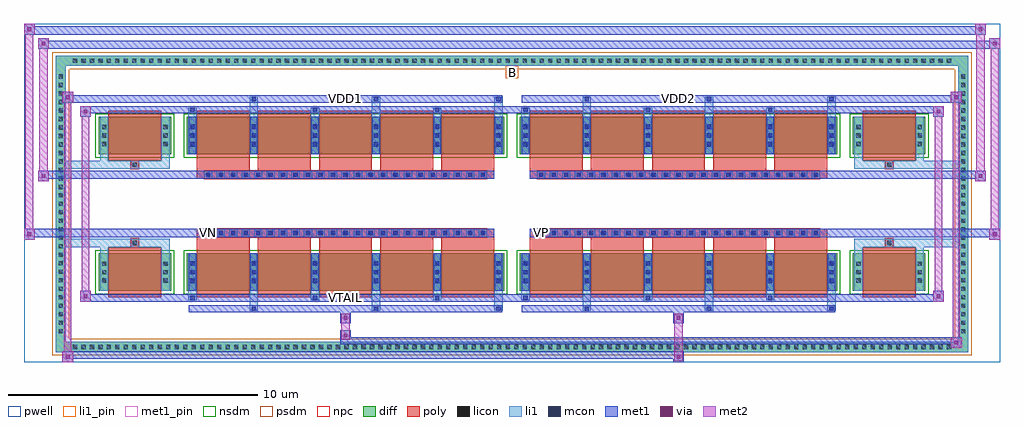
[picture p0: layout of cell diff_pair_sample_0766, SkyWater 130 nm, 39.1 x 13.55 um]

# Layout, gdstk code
import gdstk
lib = gdstk.Library(unit=1e-6, precision=5e-09)
def R(c, l, rs):  # rectangles x0, y0, x1, y1
    for r in rs: c.add(gdstk.rectangle(r[:2], r[2:], *l))
def A(c, l, x, y, w, h, nx, ny, dx, dy):  # array of equal rectangles
    R(c, l, [(x+i*dx, y+j*dy, x+i*dx+w, y+j*dy+h) for i in range(nx) for j in range(ny)])
def P(c, l, *ps):  # polygons
    for p in ps: c.add(gdstk.Polygon(p, *l))
pwell = (64, 44)
diff = (65, 20)
poly = (66, 20)
licon = (66, 44)
li1_pin = (67, 16)
li1 = (67, 20)
mcon = (67, 44)
met1_pin = (68, 16)
met1 = (68, 20)
via = (68, 44)
met2 = (69, 20)
nsdm = (93, 44)
psdm = (94, 20)
npc = (95, 20)

diff_pair_sample_0766 = lib.new_cell('diff_pair_sample_0766')
R(diff_pair_sample_0766, pwell, [(-19.55,-6.34,19.55,7.21), (-16.87,-4.53,-0.01,-0.805), (0.01,-4.53,16.87,-0.805), (-16.87,0.805,-0.01,4.53), (0.01,0.805,16.87,4.53)])
A(diff_pair_sample_0766, diff, -17.715, -5.94, 0.41, 0.41, 104, 2, 0.34, 11.47)
A(diff_pair_sample_0766, diff, -18.28, -5.305, 0.41, 0.41, 1, 31, 0, 0.34)
A(diff_pair_sample_0766, diff, 17.87, -5.305, 0.41, 0.41, 1, 31, 0, 0.34)
R(diff_pair_sample_0766, diff, [(-17.715,-5.94,17.715,-5.53), (-18.28,-5.305,-17.87,5.305), (17.87,-5.305,18.28,5.305), (-16.56,-3.485,-13.66,-1.985), (-13.02,-3.485,-0.32,-1.985), (0.32,-3.485,13.02,-1.985), (13.66,-3.485,16.56,-1.985), (-16.56,1.985,-13.66,3.485), (-13.02,1.985,-0.32,3.485), (0.32,1.985,13.02,3.485), (13.66,1.985,16.56,3.485), (-17.715,5.53,17.715,5.94)])
P(diff_pair_sample_0766, diff, [(18.28,5.94),(-18.28,5.94),(-18.28,-5.53),(-17.87,-5.53),(-17.87,5.53),(17.87,5.53),(17.87,-5.53),(-17.87,-5.53),(-18.28,-5.53),(-18.28,-5.94),(18.28,-5.94)])
A(diff_pair_sample_0766, poly, -12.63, -3.735, 2.12, 2, 5, 2, 2.45, 5.47)
A(diff_pair_sample_0766, poly, 0.71, -3.735, 2.12, 2, 5, 2, 2.45, 5.47)
A(diff_pair_sample_0766, poly, -12.63, -1.735, 2.12, 0.4, 5, 2, 2.45, 3.07)
A(diff_pair_sample_0766, poly, 0.71, -1.735, 2.12, 0.4, 5, 2, 2.45, 3.07)
A(diff_pair_sample_0766, poly, -12.335, -1.335, 0.33, 0.33, 23, 2, 0.5, 2.34)
A(diff_pair_sample_0766, poly, 1.005, -1.335, 0.33, 0.33, 23, 2, 0.5, 2.34)
R(diff_pair_sample_0766, poly, [(-16.17,-3.735,-14.05,-1.735), (14.05,-3.735,16.17,-1.735), (-15.275,-1.735,-14.945,-1.405), (-15.275,-1.735,-14.945,-1.405), (14.945,-1.735,15.275,-1.405), (14.945,-1.735,15.275,-1.405), (-12.63,-1.335,-0.71,-1.005), (0.71,-1.335,12.63,-1.005), (-12.63,1.005,-0.71,1.335), (0.71,1.005,12.63,1.335), (-15.275,1.405,-14.945,1.735), (-15.275,1.405,-14.945,1.735), (14.945,1.405,15.275,1.735), (14.945,1.405,15.275,1.735), (-16.17,1.735,-14.05,3.735), (14.05,1.735,16.17,3.735)])
A(diff_pair_sample_0766, licon, -17.595, -5.82, 0.17, 0.17, 104, 2, 0.34, 11.47)
A(diff_pair_sample_0766, licon, -18.16, -5.185, 0.17, 0.17, 1, 31, 0, 0.34)
A(diff_pair_sample_0766, licon, 17.99, -5.185, 0.17, 0.17, 1, 31, 0, 0.34)
A(diff_pair_sample_0766, licon, -16.42, -3.16, 0.17, 0.17, 1, 3, 0, 0.34)
A(diff_pair_sample_0766, licon, -13.97, -3.16, 0.17, 0.17, 1, 3, 0, 0.34)
A(diff_pair_sample_0766, licon, -12.88, -3.16, 0.17, 0.17, 6, 3, 2.45, 0.34)
A(diff_pair_sample_0766, licon, 0.46, -3.16, 0.17, 0.17, 6, 3, 2.45, 0.34)
A(diff_pair_sample_0766, licon, 13.8, -3.16, 0.17, 0.17, 1, 3, 0, 0.34)
A(diff_pair_sample_0766, licon, 16.25, -3.16, 0.17, 0.17, 1, 3, 0, 0.34)
A(diff_pair_sample_0766, licon, -12.255, -1.255, 0.17, 0.17, 23, 2, 0.5, 2.34)
A(diff_pair_sample_0766, licon, 1.085, -1.255, 0.17, 0.17, 23, 2, 0.5, 2.34)
A(diff_pair_sample_0766, licon, -16.42, 2.31, 0.17, 0.17, 1, 3, 0, 0.34)
A(diff_pair_sample_0766, licon, -13.97, 2.31, 0.17, 0.17, 1, 3, 0, 0.34)
A(diff_pair_sample_0766, licon, -12.88, 2.31, 0.17, 0.17, 6, 3, 2.45, 0.34)
A(diff_pair_sample_0766, licon, 0.46, 2.31, 0.17, 0.17, 6, 3, 2.45, 0.34)
A(diff_pair_sample_0766, licon, 13.8, 2.31, 0.17, 0.17, 1, 3, 0, 0.34)
A(diff_pair_sample_0766, licon, 16.25, 2.31, 0.17, 0.17, 1, 3, 0, 0.34)
R(diff_pair_sample_0766, licon, [(-15.195,-1.655,-15.025,-1.485), (15.025,-1.655,15.195,-1.485), (-15.195,1.485,-15.025,1.655), (15.025,1.485,15.195,1.655)])
R(diff_pair_sample_0766, li1_pin, [(-0.25,5.03,0.25,5.53)])
A(diff_pair_sample_0766, li1, -17.675, -5.9, 0.33, 0.33, 104, 2, 0.34, 11.47)
A(diff_pair_sample_0766, li1, -18.24, -5.265, 0.33, 0.33, 1, 31, 0, 0.34)
A(diff_pair_sample_0766, li1, 17.91, -5.265, 0.33, 0.33, 1, 31, 0, 0.34)
A(diff_pair_sample_0766, li1, -10.51, -4.29, 0.33, 0.805, 3, 2, 4.9, 7.775)
A(diff_pair_sample_0766, li1, -10.43, -4.29, 0.17, 0.17, 3, 2, 4.9, 8.41)
A(diff_pair_sample_0766, li1, 2.83, -4.29, 0.33, 0.805, 3, 2, 4.9, 7.775)
A(diff_pair_sample_0766, li1, 2.91, -4.29, 0.17, 0.17, 3, 2, 4.9, 8.41)
A(diff_pair_sample_0766, li1, -12.96, -3.86, 0.33, 0.375, 3, 2, 4.9, 7.345)
A(diff_pair_sample_0766, li1, -12.88, -3.86, 0.17, 0.17, 3, 2, 4.9, 7.55)
A(diff_pair_sample_0766, li1, 0.38, -3.86, 0.33, 0.375, 3, 2, 4.9, 7.345)
A(diff_pair_sample_0766, li1, 0.46, -3.86, 0.17, 0.17, 3, 2, 4.9, 7.55)
A(diff_pair_sample_0766, li1, -12.96, -3.485, 0.33, 1.5, 6, 2, 2.45, 5.47)
A(diff_pair_sample_0766, li1, 0.38, -3.485, 0.33, 1.5, 6, 2, 2.45, 5.47)
A(diff_pair_sample_0766, li1, -16.5, -3.24, 0.33, 0.33, 1, 3, 0, 0.34)
A(diff_pair_sample_0766, li1, -14.05, -3.24, 0.33, 0.33, 1, 3, 0, 0.34)
A(diff_pair_sample_0766, li1, -12.96, -3.24, 0.33, 0.33, 6, 3, 2.45, 0.34)
A(diff_pair_sample_0766, li1, 0.38, -3.24, 0.33, 0.33, 6, 3, 2.45, 0.34)
A(diff_pair_sample_0766, li1, 13.72, -3.24, 0.33, 0.33, 1, 3, 0, 0.34)
A(diff_pair_sample_0766, li1, 16.17, -3.24, 0.33, 0.33, 1, 3, 0, 0.34)
A(diff_pair_sample_0766, li1, -12.88, -3.18, 0.17, 0.17, 6, 3, 2.45, 0.36)
A(diff_pair_sample_0766, li1, -12.88, -3.18, 0.17, 0.89, 6, 2, 2.45, 5.47)
A(diff_pair_sample_0766, li1, 0.46, -3.18, 0.17, 0.17, 6, 3, 2.45, 0.36)
A(diff_pair_sample_0766, li1, 0.46, -3.18, 0.17, 0.89, 6, 2, 2.45, 5.47)
A(diff_pair_sample_0766, li1, -12.335, -1.335, 0.33, 0.33, 23, 2, 0.5, 2.34)
A(diff_pair_sample_0766, li1, 1.005, -1.335, 0.33, 0.33, 23, 2, 0.5, 2.34)
A(diff_pair_sample_0766, li1, -16.5, 2.23, 0.33, 0.33, 1, 3, 0, 0.34)
A(diff_pair_sample_0766, li1, -14.05, 2.23, 0.33, 0.33, 1, 3, 0, 0.34)
A(diff_pair_sample_0766, li1, -12.96, 2.23, 0.33, 0.33, 6, 3, 2.45, 0.34)
A(diff_pair_sample_0766, li1, 0.38, 2.23, 0.33, 0.33, 6, 3, 2.45, 0.34)
A(diff_pair_sample_0766, li1, 13.72, 2.23, 0.33, 0.33, 1, 3, 0, 0.34)
A(diff_pair_sample_0766, li1, 16.17, 2.23, 0.33, 0.33, 1, 3, 0, 0.34)
A(diff_pair_sample_0766, li1, -12.88, 2.29, 0.17, 0.17, 6, 3, 2.45, 0.36)
A(diff_pair_sample_0766, li1, 0.46, 2.29, 0.17, 0.17, 6, 3, 2.45, 0.36)
R(diff_pair_sample_0766, li1, [(-18.28,-5.94,-17.87,-5.53), (-18.28,-5.94,-17.87,-5.53), (-17.87,-5.94,17.87,-5.53), (17.87,-5.94,18.28,-5.53), (17.87,-5.94,18.28,-5.53), (-18.28,-5.53,-17.87,5.53), (17.87,-5.53,18.28,5.53), (-16.5,-3.485,-16.17,-1.985), (-14.05,-3.485,-13.72,-1.985), (13.72,-3.485,14.05,-1.985), (16.17,-3.485,16.5,-1.985), (-16.5,-1.985,-16.17,-1.405), (-14.05,-1.985,-13.72,-1.405), (13.72,-1.985,14.05,-1.405), (16.17,-1.985,16.5,-1.405), (-18.28,-1.735,-15.275,-1.405), (-16.5,-1.735,-15.275,-1.405), (-15.275,-1.735,-14.945,-1.405), (-14.945,-1.735,-13.72,-1.405), (13.72,-1.735,14.945,-1.405), (14.945,-1.735,15.275,-1.405), (14.945,-1.735,18.28,-1.405), (15.275,-1.735,16.5,-1.405), (-18.28,1.405,-15.275,1.735), (-16.5,1.405,-15.275,1.735), (-16.5,1.405,-16.17,1.985), (-15.275,1.405,-14.945,1.735), (-14.945,1.405,-13.72,1.735), (-14.05,1.405,-13.72,1.985), (13.72,1.405,14.945,1.735), (13.72,1.405,14.05,1.985), (14.945,1.405,15.275,1.735), (14.945,1.405,18.28,1.735), (15.275,1.405,16.5,1.735), (16.17,1.405,16.5,1.985), (-16.5,1.985,-16.17,3.485), (-14.05,1.985,-13.72,3.485), (13.72,1.985,14.05,3.485), (16.17,1.985,16.5,3.485), (-18.28,5.53,-17.87,5.94), (-18.28,5.53,-17.87,5.94), (-17.87,5.53,17.87,5.94), (17.87,5.53,18.28,5.94), (17.87,5.53,18.28,5.94)])
A(diff_pair_sample_0766, mcon, -10.43, -4.29, 0.17, 0.17, 3, 2, 4.9, 8.41)
A(diff_pair_sample_0766, mcon, 2.91, -4.29, 0.17, 0.17, 3, 2, 4.9, 8.41)
A(diff_pair_sample_0766, mcon, -12.88, -3.86, 0.17, 0.17, 3, 2, 4.9, 7.55)
A(diff_pair_sample_0766, mcon, 0.46, -3.86, 0.17, 0.17, 3, 2, 4.9, 7.55)
A(diff_pair_sample_0766, mcon, -12.88, -3.18, 0.17, 0.17, 6, 3, 2.45, 0.36)
A(diff_pair_sample_0766, mcon, 0.46, -3.18, 0.17, 0.17, 6, 3, 2.45, 0.36)
A(diff_pair_sample_0766, mcon, -12.255, -1.255, 0.17, 0.17, 23, 2, 0.5, 2.34)
A(diff_pair_sample_0766, mcon, 1.085, -1.255, 0.17, 0.17, 23, 2, 0.5, 2.34)
A(diff_pair_sample_0766, mcon, -12.88, 2.29, 0.17, 0.17, 6, 3, 2.45, 0.36)
A(diff_pair_sample_0766, mcon, 0.46, 2.29, 0.17, 0.17, 6, 3, 2.45, 0.36)
R(diff_pair_sample_0766, met1_pin, [(-6.805,-3.9,-6.535,-3.63), (-12.305,-1.295,-12.035,-1.025), (1.035,-1.295,1.305,-1.025), (-6.805,4.08,-6.535,4.35), (6.535,4.08,6.805,4.35)])
A(diff_pair_sample_0766, met1, -10.49, -4.35, 0.29, 0.29, 3, 2, 4.9, 8.41)
A(diff_pair_sample_0766, met1, 2.85, -4.35, 0.29, 0.29, 3, 2, 4.9, 8.41)
A(diff_pair_sample_0766, met1, -12.94, -3.92, 0.29, 0.29, 3, 2, 4.9, 7.55)
A(diff_pair_sample_0766, met1, 0.4, -3.92, 0.29, 0.29, 3, 2, 4.9, 7.55)
A(diff_pair_sample_0766, met1, -12.94, -3.485, 0.29, 1.5, 6, 2, 2.45, 5.47)
A(diff_pair_sample_0766, met1, 0.4, -3.485, 0.29, 1.5, 6, 2, 2.45, 5.47)
A(diff_pair_sample_0766, met1, -12.94, -3.24, 0.29, 0.29, 6, 3, 2.45, 0.36)
A(diff_pair_sample_0766, met1, 0.4, -3.24, 0.29, 0.29, 6, 3, 2.45, 0.36)
A(diff_pair_sample_0766, met1, -12.315, -1.315, 0.29, 0.29, 23, 2, 0.5, 2.34)
A(diff_pair_sample_0766, met1, 1.025, -1.315, 0.29, 0.29, 23, 2, 0.5, 2.34)
A(diff_pair_sample_0766, met1, -12.94, 2.23, 0.29, 0.29, 6, 3, 2.45, 0.36)
A(diff_pair_sample_0766, met1, 0.4, 2.23, 0.29, 0.29, 6, 3, 2.45, 0.36)
R(diff_pair_sample_0766, met1, [(-18.01,-6.34,-17.58,-5.91), (6.455,-6.34,6.885,-5.91), (-18.01,-6.2,6.885,-5.91), (17.58,-5.77,18.01,-5.34), (-6.885,-5.63,18.01,-5.34), (-6.885,-5.49,-6.455,-5.06), (-6.885,-4.78,-6.455,-4.35), (6.455,-4.78,6.885,-4.35), (-12.94,-4.35,-0.4,-4.06), (0.4,-4.35,12.94,-4.06), (-17.3,-3.92,-16.87,-3.49), (-17.3,-3.92,-12.94,-3.63), (-12.94,-3.92,-0.4,-3.63), (-0.4,-3.92,0.4,-3.63), (0.4,-3.92,12.94,-3.63), (12.94,-3.92,17.3,-3.63), (16.87,-3.92,17.3,-3.49), (-19.55,-1.435,-19.12,-1.005), (19.12,-1.435,19.55,-1.005), (-19.55,-1.335,-0.71,-1.005), (-12.63,-1.335,-0.71,-1.005), (0.71,-1.335,12.63,-1.005), (0.71,-1.335,19.55,-1.005), (-18.98,0.905,-18.55,1.335), (18.55,0.905,18.98,1.335), (-18.98,1.005,-12.63,1.335), (-12.63,1.005,-0.71,1.335), (0.71,1.005,12.63,1.335), (12.63,1.005,18.98,1.335), (-17.3,3.49,-16.87,3.92), (16.87,3.49,17.3,3.92), (-17.3,3.63,-12.94,3.92), (-12.94,3.63,-0.4,3.92), (-0.4,3.63,0.4,3.92), (0.4,3.63,12.94,3.92), (12.94,3.63,17.3,3.92), (-18.01,4.06,-17.58,4.49), (-18.01,4.06,-12.94,4.35), (-12.94,4.06,-0.4,4.35), (0.4,4.06,12.94,4.35), (12.94,4.06,18.01,4.35), (17.58,4.06,18.01,4.49), (-18.98,6.21,-18.55,6.64), (-18.98,6.21,-16.87,6.54), (-16.87,6.21,16.87,6.54), (16.87,6.21,19.55,6.54), (19.12,6.21,19.55,6.64), (-19.55,6.78,-19.12,7.21), (-19.55,6.78,-16.87,7.11), (-16.87,6.78,16.87,7.11), (16.87,6.78,18.98,7.11), (18.55,6.78,18.98,7.21)])
R(diff_pair_sample_0766, via, [(-17.87,-6.2,-17.72,-6.05), (6.595,-6.2,6.745,-6.05), (17.72,-5.63,17.87,-5.48), (-6.745,-5.35,-6.595,-5.2), (-6.745,-4.64,-6.595,-4.49), (6.595,-4.64,6.745,-4.49), (-17.16,-3.78,-17.01,-3.63), (17.01,-3.78,17.16,-3.63), (-19.41,-1.295,-19.26,-1.145), (19.26,-1.295,19.41,-1.145), (-18.84,1.045,-18.69,1.195), (18.69,1.045,18.84,1.195), (-17.16,3.63,-17.01,3.78), (17.01,3.63,17.16,3.78), (-17.87,4.2,-17.72,4.35), (17.72,4.2,17.87,4.35), (-18.84,6.35,-18.69,6.5), (19.26,6.35,19.41,6.5), (-19.41,6.92,-19.26,7.07), (18.69,6.92,18.84,7.07)])
R(diff_pair_sample_0766, met2, [(-18.01,-6.34,-17.58,-5.91), (-17.94,-6.34,-17.65,4.49), (-17.65,-6.34,-17.58,-5.91), (-17.96,-6.29,-17.63,-5.96), (6.505,-6.29,6.835,-5.96), (6.505,-5.96,6.835,-4.73), (17.58,-5.77,18.01,-5.34), (17.65,-5.77,17.94,4.49), (17.94,-5.77,18.01,-5.34), (17.63,-5.72,17.96,-5.39), (-6.835,-5.44,-6.505,-5.11), (-6.835,-5.11,-6.505,-4.73), (-6.835,-4.73,-6.505,-4.4), (6.505,-4.73,6.835,-4.4), (-17.3,-3.92,-16.87,-3.49), (-17.23,-3.92,-16.94,3.92), (-16.94,-3.92,-16.87,-3.49), (16.87,-3.92,17.3,-3.49), (16.94,-3.92,17.23,3.92), (17.23,-3.92,17.3,-3.49), (-17.25,-3.87,-16.92,-3.54), (16.92,-3.87,17.25,-3.54), (-19.55,-1.435,-19.12,-1.005), (-19.5,-1.435,-19.17,7.21), (-19.17,-1.435,-19.12,-1.005), (19.12,-1.435,19.55,-1.005), (19.17,-1.435,19.5,6.64), (19.5,-1.435,19.55,-1.005), (-19.5,-1.385,-19.17,-1.055), (19.17,-1.385,19.5,-1.055), (-18.98,0.905,-18.55,1.335), (-18.93,0.905,-18.6,6.64), (-18.6,0.905,-18.55,1.335), (18.55,0.905,18.98,1.335), (18.6,0.905,18.93,7.21), (18.93,0.905,18.98,1.335), (-18.93,0.955,-18.6,1.285), (18.6,0.955,18.93,1.285), (-17.3,3.49,-16.87,3.92), (-16.94,3.49,-16.87,3.92), (16.87,3.49,17.3,3.92), (17.23,3.49,17.3,3.92), (-17.25,3.54,-16.92,3.87), (16.92,3.54,17.25,3.87), (-18.01,4.06,-17.58,4.49), (-17.65,4.06,-17.58,4.49), (17.58,4.06,18.01,4.49), (17.94,4.06,18.01,4.49), (-17.96,4.11,-17.63,4.44), (17.63,4.11,17.96,4.44), (-18.98,6.21,-18.55,6.64), (-18.6,6.21,-18.55,6.64), (19.12,6.21,19.55,6.64), (19.5,6.21,19.55,6.64), (-18.93,6.26,-18.6,6.59), (19.17,6.26,19.5,6.59), (-19.55,6.78,-19.12,7.21), (-19.17,6.78,-19.12,7.21), (18.55,6.78,18.98,7.21), (18.93,6.78,18.98,7.21), (-19.5,6.83,-19.17,7.16), (18.6,6.83,18.93,7.16)])
R(diff_pair_sample_0766, nsdm, [(-16.69,-3.615,-13.53,-1.855), (-13.15,-3.615,-0.19,-1.855), (0.19,-3.615,13.15,-1.855), (13.53,-3.615,16.69,-1.855), (-16.69,1.855,-13.53,3.615), (-13.15,1.855,-0.19,3.615), (0.19,1.855,13.15,3.615), (13.53,1.855,16.69,3.615)])
P(diff_pair_sample_0766, psdm, [(18.41,6.07),(-18.41,6.07),(-18.41,-5.4),(-17.74,-5.4),(-17.74,5.4),(17.74,5.4),(17.74,-5.4),(-17.74,-5.4),(-18.41,-5.4),(-18.41,-6.07),(18.41,-6.07)])
A(diff_pair_sample_0766, npc, -12.355, -1.355, 0.37, 0.37, 23, 2, 0.5, 2.34)
A(diff_pair_sample_0766, npc, 0.985, -1.355, 0.37, 0.37, 23, 2, 0.5, 2.34)
R(diff_pair_sample_0766, npc, [(-15.295,-1.755,-14.925,-1.385), (14.925,-1.755,15.295,-1.385), (-12.355,-1.355,-11.485,-0.985), (-12.355,-1.355,-11.485,-0.985), (-11.855,-1.355,-10.985,-0.985), (-11.855,-1.355,-10.985,-0.985), (-11.355,-1.355,-10.485,-0.985), (-11.355,-1.355,-10.485,-0.985), (-10.855,-1.355,-9.985,-0.985), (-10.855,-1.355,-9.985,-0.985), (-10.355,-1.355,-9.485,-0.985), (-10.355,-1.355,-9.485,-0.985), (-9.855,-1.355,-8.985,-0.985), (-9.855,-1.355,-8.985,-0.985), (-9.355,-1.355,-8.485,-0.985), (-9.355,-1.355,-8.485,-0.985), (-8.855,-1.355,-7.985,-0.985), (-8.855,-1.355,-7.985,-0.985), (-8.355,-1.355,-7.485,-0.985), (-8.355,-1.355,-7.485,-0.985), (-7.855,-1.355,-6.985,-0.985), (-7.855,-1.355,-6.985,-0.985), (-7.355,-1.355,-6.485,-0.985), (-7.355,-1.355,-6.485,-0.985), (-6.855,-1.355,-5.985,-0.985), (-6.855,-1.355,-5.985,-0.985), (-6.355,-1.355,-5.485,-0.985), (-6.355,-1.355,-5.485,-0.985), (-5.855,-1.355,-4.985,-0.985), (-5.855,-1.355,-4.985,-0.985), (-5.355,-1.355,-4.485,-0.985), (-5.355,-1.355,-4.485,-0.985), (-4.855,-1.355,-3.985,-0.985), (-4.855,-1.355,-3.985,-0.985), (-4.355,-1.355,-3.485,-0.985), (-4.355,-1.355,-3.485,-0.985), (-3.855,-1.355,-2.985,-0.985), (-3.855,-1.355,-2.985,-0.985), (-3.355,-1.355,-2.485,-0.985), (-3.355,-1.355,-2.485,-0.985), (-2.855,-1.355,-1.985,-0.985), (-2.855,-1.355,-1.985,-0.985), (-2.355,-1.355,-1.485,-0.985), (-2.355,-1.355,-1.485,-0.985), (-1.855,-1.355,-0.985,-0.985), (-1.855,-1.355,-0.985,-0.985), (0.985,-1.355,1.855,-0.985), (0.985,-1.355,1.855,-0.985), (1.485,-1.355,2.355,-0.985), (1.485,-1.355,2.355,-0.985), (1.985,-1.355,2.855,-0.985), (1.985,-1.355,2.855,-0.985), (2.485,-1.355,3.355,-0.985), (2.485,-1.355,3.355,-0.985), (2.985,-1.355,3.855,-0.985), (2.985,-1.355,3.855,-0.985), (3.485,-1.355,4.355,-0.985), (3.485,-1.355,4.355,-0.985), (3.985,-1.355,4.855,-0.985), (3.985,-1.355,4.855,-0.985), (4.485,-1.355,5.355,-0.985), (4.485,-1.355,5.355,-0.985), (4.985,-1.355,5.855,-0.985), (4.985,-1.355,5.855,-0.985), (5.485,-1.355,6.355,-0.985), (5.485,-1.355,6.355,-0.985), (5.985,-1.355,6.855,-0.985), (5.985,-1.355,6.855,-0.985), (6.485,-1.355,7.355,-0.985), (6.485,-1.355,7.355,-0.985), (6.985,-1.355,7.855,-0.985), (6.985,-1.355,7.855,-0.985), (7.485,-1.355,8.355,-0.985), (7.485,-1.355,8.355,-0.985), (7.985,-1.355,8.855,-0.985), (7.985,-1.355,8.855,-0.985), (8.485,-1.355,9.355,-0.985), (8.485,-1.355,9.355,-0.985), (8.985,-1.355,9.855,-0.985), (8.985,-1.355,9.855,-0.985), (9.485,-1.355,10.355,-0.985), (9.485,-1.355,10.355,-0.985), (9.985,-1.355,10.855,-0.985), (9.985,-1.355,10.855,-0.985), (10.485,-1.355,11.355,-0.985), (10.485,-1.355,11.355,-0.985), (10.985,-1.355,11.855,-0.985), (10.985,-1.355,11.855,-0.985), (11.485,-1.355,12.355,-0.985), (11.485,-1.355,12.355,-0.985), (-12.355,0.985,-11.485,1.355), (-12.355,0.985,-11.485,1.355), (-11.855,0.985,-10.985,1.355), (-11.855,0.985,-10.985,1.355), (-11.355,0.985,-10.485,1.355), (-11.355,0.985,-10.485,1.355), (-10.855,0.985,-9.985,1.355), (-10.855,0.985,-9.985,1.355), (-10.355,0.985,-9.485,1.355), (-10.355,0.985,-9.485,1.355), (-9.855,0.985,-8.985,1.355), (-9.855,0.985,-8.985,1.355), (-9.355,0.985,-8.485,1.355), (-9.355,0.985,-8.485,1.355), (-8.855,0.985,-7.985,1.355), (-8.855,0.985,-7.985,1.355), (-8.355,0.985,-7.485,1.355), (-8.355,0.985,-7.485,1.355), (-7.855,0.985,-6.985,1.355), (-7.855,0.985,-6.985,1.355), (-7.355,0.985,-6.485,1.355), (-7.355,0.985,-6.485,1.355), (-6.855,0.985,-5.985,1.355), (-6.855,0.985,-5.985,1.355), (-6.355,0.985,-5.485,1.355), (-6.355,0.985,-5.485,1.355), (-5.855,0.985,-4.985,1.355), (-5.855,0.985,-4.985,1.355), (-5.355,0.985,-4.485,1.355), (-5.355,0.985,-4.485,1.355), (-4.855,0.985,-3.985,1.355), (-4.855,0.985,-3.985,1.355), (-4.355,0.985,-3.485,1.355), (-4.355,0.985,-3.485,1.355), (-3.855,0.985,-2.985,1.355), (-3.855,0.985,-2.985,1.355), (-3.355,0.985,-2.485,1.355), (-3.355,0.985,-2.485,1.355), (-2.855,0.985,-1.985,1.355), (-2.855,0.985,-1.985,1.355), (-2.355,0.985,-1.485,1.355), (-2.355,0.985,-1.485,1.355), (-1.855,0.985,-0.985,1.355), (-1.855,0.985,-0.985,1.355), (0.985,0.985,1.855,1.355), (0.985,0.985,1.855,1.355), (1.485,0.985,2.355,1.355), (1.485,0.985,2.355,1.355), (1.985,0.985,2.855,1.355), (1.985,0.985,2.855,1.355), (2.485,0.985,3.355,1.355), (2.485,0.985,3.355,1.355), (2.985,0.985,3.855,1.355), (2.985,0.985,3.855,1.355), (3.485,0.985,4.355,1.355), (3.485,0.985,4.355,1.355), (3.985,0.985,4.855,1.355), (3.985,0.985,4.855,1.355), (4.485,0.985,5.355,1.355), (4.485,0.985,5.355,1.355), (4.985,0.985,5.855,1.355), (4.985,0.985,5.855,1.355), (5.485,0.985,6.355,1.355), (5.485,0.985,6.355,1.355), (5.985,0.985,6.855,1.355), (5.985,0.985,6.855,1.355), (6.485,0.985,7.355,1.355), (6.485,0.985,7.355,1.355), (6.985,0.985,7.855,1.355), (6.985,0.985,7.855,1.355), (7.485,0.985,8.355,1.355), (7.485,0.985,8.355,1.355), (7.985,0.985,8.855,1.355), (7.985,0.985,8.855,1.355), (8.485,0.985,9.355,1.355), (8.485,0.985,9.355,1.355), (8.985,0.985,9.855,1.355), (8.985,0.985,9.855,1.355), (9.485,0.985,10.355,1.355), (9.485,0.985,10.355,1.355), (9.985,0.985,10.855,1.355), (9.985,0.985,10.855,1.355), (10.485,0.985,11.355,1.355), (10.485,0.985,11.355,1.355), (10.985,0.985,11.855,1.355), (10.985,0.985,11.855,1.355), (11.485,0.985,12.355,1.355), (11.485,0.985,12.355,1.355), (-15.295,1.385,-14.925,1.755), (14.925,1.385,15.295,1.755)])
diff_pair_sample_0766.add(gdstk.Label('VTAIL', (-6.67,-3.765), layer=68, texttype=5))
diff_pair_sample_0766.add(gdstk.Label('VN', (-12.17,-1.16), layer=68, texttype=5))
diff_pair_sample_0766.add(gdstk.Label('VP', (1.17,-1.16), layer=68, texttype=5))
diff_pair_sample_0766.add(gdstk.Label('B', (0,5.28), layer=67, texttype=5))
diff_pair_sample_0766.add(gdstk.Label('VDD2', (6.67,4.215), layer=68, texttype=5))
diff_pair_sample_0766.add(gdstk.Label('VDD1', (-6.67,4.215), layer=68, texttype=5))

lib.write_gds('diff_pair_sample_0766.gds')
